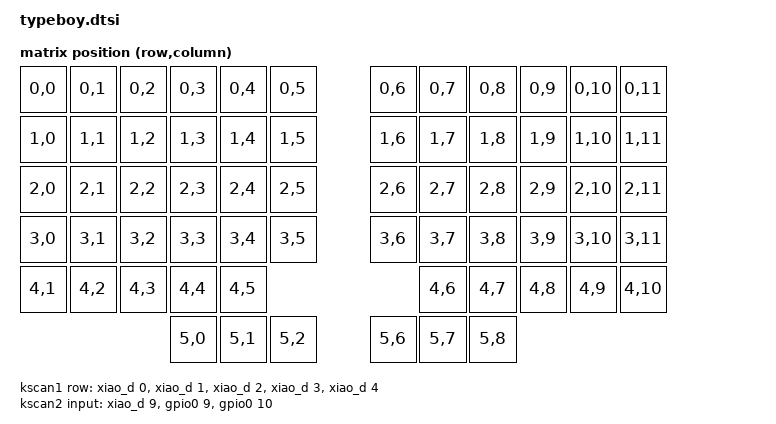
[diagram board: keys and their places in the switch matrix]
#include <dt-bindings/zmk/matrix_transform.h>

&xiao_serial { status = "disabled"; };

&xiao_spi {
	status = "okay";

	cs-gpios = <&xiao_d 7 GPIO_ACTIVE_LOW>, <&xiao_d 6 GPIO_ACTIVE_HIGH>;
	shift_reg: 595@0 {
		compatible = "zmk,gpio-595";
		status = "okay";
		gpio-controller;
		spi-max-frequency = <200000>;
		reg = <0>;
		label = "4HC595";
		#gpio-cells = <2>;
		ngpios = <8>;
	};

	ls0xx: ls0xx@1 {
		compatible = "sharp,ls0xx";
		label = "DISPLAY";
		spi-max-frequency = <2000000>;
		reg = <1>;
		width = <160>;
		height = <68>;
	};

};

&xiao_serial { status = "disabled"; };

/ {
    chosen {
      zmk,kscan = &kscan0;
      zmk,matrix_transform = &default_transform;
		  zephyr,display = &ls0xx;
    };

    default_transform: keymap_transform_0 {
        compatible = "zmk,matrix-transform";
        columns = <12>;
        rows = <6>;
        map = <
          RC(0,0) RC(0,1) RC(0,2) RC(0,3) RC(0,4) RC(0,5)                 RC(0,6) RC(0,7) RC(0,8) RC(0,9) RC(0,10) RC(0,11)
          RC(1,0) RC(1,1) RC(1,2) RC(1,3) RC(1,4) RC(1,5)                 RC(1,6) RC(1,7) RC(1,8) RC(1,9) RC(1,10) RC(1,11)
          RC(2,0) RC(2,1) RC(2,2) RC(2,3) RC(2,4) RC(2,5)                 RC(2,6) RC(2,7) RC(2,8) RC(2,9) RC(2,10) RC(2,11)
          RC(3,0) RC(3,1) RC(3,2) RC(3,3) RC(3,4) RC(3,5)                 RC(3,6) RC(3,7) RC(3,8) RC(3,9) RC(3,10) RC(3,11)
                          RC(4,1) RC(4,2) RC(4,3) RC(4,4) RC(4,5) RC(4,6) RC(4,7) RC(4,8) RC(4,9) RC(4,10)
          RC(5,0) RC(5,1) RC(5,2) RC(5,6) RC(5,7) RC(5,8)
        >;
    };

    kscan0: kscan_composite {
			compatible = "zmk,kscan-composite";
			label = "KSCAN0";
			columns = <12>;
			rows = <6>;

			matrix {
					kscan = <&kscan1>;
			};

			direct {
					kscan = <&kscan2>;
					row-offset = <5>;
			};
		};

		kscan1: kscan_matrix {
			compatible = "zmk,kscan-gpio-matrix";
			label = "MATRIX_KSCAN";

			diode-direction = "col2row"; 

			row-gpios
					= <&xiao_d 0 (GPIO_ACTIVE_HIGH | GPIO_PULL_DOWN)>
					, <&xiao_d 1 (GPIO_ACTIVE_HIGH | GPIO_PULL_DOWN)>
					, <&xiao_d 2 (GPIO_ACTIVE_HIGH | GPIO_PULL_DOWN)>
					, <&xiao_d 3 (GPIO_ACTIVE_HIGH | GPIO_PULL_DOWN)>
					, <&xiao_d 4 (GPIO_ACTIVE_HIGH | GPIO_PULL_DOWN)>
					;
		};

		kscan2: kscan_direct {
			compatible = "zmk,kscan-gpio-direct";
			debounce-period = <50>;
			label = "ENCODER_KSCAN";
			input-gpios	= <&xiao_d 9 (GPIO_ACTIVE_LOW | GPIO_PULL_UP)> // MISO
									, <&gpio0 9 (GPIO_ACTIVE_LOW | GPIO_PULL_UP)> // NFC0
									, <&gpio0 10 (GPIO_ACTIVE_LOW | GPIO_PULL_UP)>; // NFC1
		};
};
